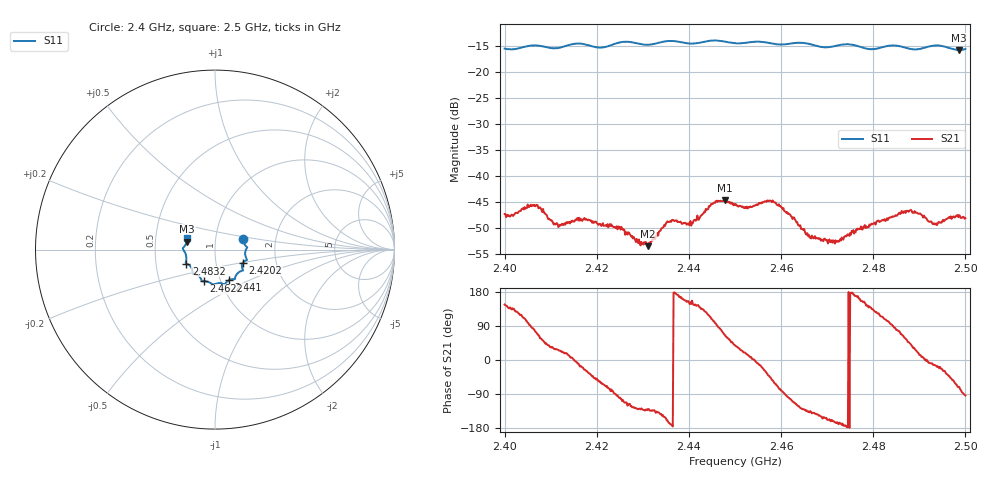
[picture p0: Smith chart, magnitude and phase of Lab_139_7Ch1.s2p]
# Hz S RI R 50
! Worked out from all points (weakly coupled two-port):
!   601 points, 2.4 GHz to 2.5 GHz, reference 50 ohm
!   highest |S21| = -44.61 dB at 2.4478 GHz (marker M1); lowest = -53.5 dB at 2.4312 GHz (marker M2)
!   lowest |S11| = -15.8 dB at 2.4987 GHz (marker M3), VSWR 1.39, Z = 36.4 + j3.36 ohm
!   |S11| at or under -10 dB: start of sweep to end of sweep
!   S12 and S22 are empty: the file has one direction only
!   S11 on the Smith chart (normalised r, x): 2.4 GHz: 1.36, +0.17; 2.4202 GHz: 1.35, -0.20; 2.441 GHz: 1.09, -0.39; 2.4622 GHz: 0.83, -0.30; 2.4832 GHz: 0.72, -0.12; 2.5 GHz: 0.73, +0.09
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2.4e9  0.1564 0.0599  -0.00361 0.00239  0 0  0 0
2.406667e9  0.1793 0.0124  0.00133 0.00495  0 0  0 0
2.411333e9  0.1675 -0.0231  0.00312 0.00167  0 0  0 0
2.416667e9  0.1773 -0.0583  0.00362 -0.00113  0 0  0 0
2.420167e9  0.1559 -0.0724  0.00206 -0.00284  0 0  0 0
2.431167e9  0.1242 -0.1337  -0.00134 -0.00165  0 0  0 0
2.433333e9  0.1132 -0.1525  -0.002 -0.00181  0 0  0 0
2.435833e9  0.1108 -0.1646  -0.00355 -0.000801  0 0  0 0
2.441e9  0.0765 -0.171  -0.00307 0.0021  0 0  0 0
2.445333e9  0.0536 -0.1931  -0.0012 0.00541  0 0  0 0
2.447833e9  0.044 -0.1905  0.00241 0.00536  0 0  0 0
2.45e9  0.0262 -0.1867  0.00413 0.00335  0 0  0 0
2.457667e9  -0.0232 -0.1873  0.00406 -0.00414  0 0  0 0
2.462167e9  -0.0632 -0.1766  -0.00107 -0.00397  0 0  0 0
2.466667e9  -0.0767 -0.1665  -0.00208 -0.0017  0 0  0 0
2.472167e9  -0.1161 -0.1365  -0.00225 -0.000644  0 0  0 0
2.483167e9  -0.1598 -0.078  -0.000847 0.0037  0 0  0 0
2.483333e9  -0.1603 -0.0776  -0.000762 0.00386  0 0  0 0
2.487833e9  -0.1596 -0.0497  0.00326 0.00329  0 0  0 0
2.493333e9  -0.1793 0.00397  0.00335 -0.00079  0 0  0 0
2.498667e9  -0.1561 0.045  0.00135 -0.00399  0 0  0 0
2.5e9  -0.1534 0.0632  -0.000242 -0.00393  0 0  0 0
